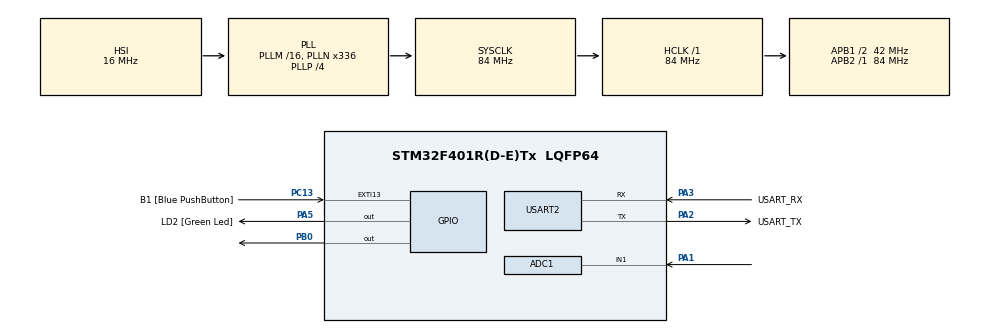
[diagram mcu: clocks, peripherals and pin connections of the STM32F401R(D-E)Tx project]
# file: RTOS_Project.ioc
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ADC1.Channel-0\#ChannelRegularConversion=ADC_CHANNEL_1
ADC1.NbrOfConversionFlag=1
ADC1.Rank-0\#ChannelRegularConversion=1
ADC1.SamplingTime-0\#ChannelRegularConversion=ADC_SAMPLETIME_3CYCLES
ADC1.master=1
FREERTOS.Tasks01=defaultTask,24,128,StartDefaultTask,Default,NULL,Dynamic,NULL,NULL
FREERTOS.configUSE_NEWLIB_REENTRANT=1
IWDG.Prescaler=IWDG_PRESCALER_16
Mcu.Family=STM32F4
Mcu.Name=STM32F401R(D-E)Tx
Mcu.Package=LQFP64
NVIC.PriorityGroup=NVIC_PRIORITYGROUP_4
NVIC.TIM1_UP_TIM10_IRQn=true\:15\:0\:false\:false\:true\:false\:false\:true\:true
NVIC.TIM2_IRQn=true\:5\:0\:false\:false\:true\:true\:true\:true\:true
NVIC.TimeBase=TIM1_UP_TIM10_IRQn
NVIC.TimeBaseIP=TIM1
PA1.Signal=ADCx_IN1
PA13.GPIO_Label=TMS
PA13.Mode=Trace_Asynchronous_SW
PA13.Signal=SYS_JTMS-SWDIO
PA14.GPIO_Label=TCK
PA14.Mode=Trace_Asynchronous_SW
PA14.Signal=SYS_JTCK-SWCLK
PA2.GPIO_Label=USART_TX
PA2.GPIO_Mode=GPIO_MODE_AF_PP
PA2.GPIO_PuPd=GPIO_NOPULL
PA2.GPIO_Speed=GPIO_SPEED_FREQ_LOW
PA2.Mode=Asynchronous
PA2.Signal=USART2_TX
PA3.GPIO_Label=USART_RX
PA3.GPIO_Mode=GPIO_MODE_AF_PP
PA3.GPIO_PuPd=GPIO_NOPULL
PA3.GPIO_Speed=GPIO_SPEED_FREQ_LOW
PA3.Mode=Asynchronous
PA3.Signal=USART2_RX
PA5.GPIO_Label=LD2 [Green Led]
PA5.GPIO_Mode=GPIO_MODE_OUTPUT_PP
PA5.GPIO_PuPd=GPIO_NOPULL
PA5.GPIO_Speed=GPIO_SPEED_FREQ_LOW
PA5.Signal=GPIO_Output
PB0.Signal=GPIO_Output
PB3.GPIO_Label=SWO
PB3.Mode=Trace_Asynchronous_SW
PB3.Signal=SYS_JTDO-SWO
PC13-ANTI_TAMP.GPIO_Label=B1 [Blue PushButton]
PC13-ANTI_TAMP.GPIO_ModeDefaultEXTI=GPIO_MODE_IT_FALLING
PC13-ANTI_TAMP.GPIO_PuPd=GPIO_NOPULL
PC13-ANTI_TAMP.Signal=GPXTI13
PC14-OSC32_IN.Mode=LSE-External-Oscillator
PC14-OSC32_IN.Signal=RCC_OSC32_IN
PC15-OSC32_OUT.Mode=LSE-External-Oscillator
PC15-OSC32_OUT.Signal=RCC_OSC32_OUT
PH0\ -\ OSC_IN.Mode=HSE-External-Clock-Source
PH0\ -\ OSC_IN.Signal=RCC_OSC_IN
PH1\ -\ OSC_OUT.Mode=HSE-External-Clock-Source
PH1\ -\ OSC_OUT.Signal=RCC_OSC_OUT
ProjectManager.HeapSize=0x200
ProjectManager.StackSize=0x400
ProjectManager.TargetToolchain=STM32CubeIDE
RCC.48MHZClocksFreq_Value=48000000
RCC.AHBFreq_Value=84000000
RCC.APB1CLKDivider=RCC_HCLK_DIV2
RCC.APB1Freq_Value=42000000
RCC.APB1TimFreq_Value=84000000
RCC.APB2Freq_Value=84000000
RCC.APB2TimFreq_Value=84000000
RCC.CortexFreq_Value=84000000
RCC.HCLKFreq_Value=84000000
RCC.HSE_VALUE=8000000
RCC.HSI_VALUE=16000000
RCC.PLLN=336
RCC.PLLP=RCC_PLLP_DIV4
RCC.PLLQ=7
RCC.SYSCLKFreq_VALUE=84000000
RCC.SYSCLKSource=RCC_SYSCLKSOURCE_PLLCLK
RCC.VCOOutputFreq_Value=336000000
SH.ADCx_IN1.0=ADC1_IN1,IN1
TIM2.Prescaler=83
USART2.VirtualMode=VM_ASYNC
VP_FREERTOS_VS_CMSIS_V2.Mode=CMSIS_V2
VP_IWDG_VS_IWDG.Mode=IWDG_Activate
VP_SYS_VS_tim1.Mode=TIM1
VP_TIM2_VS_ClockSourceINT.Mode=Internal
board=NUCLEO-F401RE

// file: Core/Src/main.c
/* USER CODE BEGIN Header */
/**
  ******************************************************************************
  * @file           : main.c
  * @brief          : Main program body
  ******************************************************************************
  */
/* USER CODE END Header */

#include "main.h"
#include "cmsis_os.h"

/* USER CODE BEGIN Includes */
#include "ring_buffer.h"
/* USER CODE END Includes */

ADC_HandleTypeDef hadc1;
IWDG_HandleTypeDef hiwdg;
TIM_HandleTypeDef htim2;
UART_HandleTypeDef huart2;

osThreadId_t defaultTaskHandle;
const osThreadAttr_t defaultTask_attributes = {
  .name = "defaultTask",
  .stack_size = 128 * 4,
  .priority = (osPriority_t) osPriorityNormal,
};

/* USER CODE BEGIN PV */
RingBuffer_t adcRingBuffer;
/* USER CODE END PV */

static void MX_GPIO_Init(void);
static void MX_ADC1_Init(void);
static void MX_IWDG_Init(void);
static void MX_TIM2_Init(void);
static void MX_USART2_UART_Init(void);
void SystemClock_Config(void);
void StartDefaultTask(void *argument);

/* USER CODE BEGIN PFP */
void MX_FREERTOS_Init(void);
/* USER CODE END PFP */

int main(void)
{
  HAL_Init();
  SystemClock_Config();

  MX_GPIO_Init();
  MX_ADC1_Init();
  MX_IWDG_Init();
  MX_TIM2_Init();
  MX_USART2_UART_Init();

  /* USER CODE BEGIN 2 */
  RingBuffer_Init(&adcRingBuffer);
  HAL_ADC_Start(&hadc1);
  HAL_TIM_Base_Start_IT(&htim2);
  /* USER CODE END 2 */

  osKernelInitialize();

  // defaultTaskHandle = osThreadNew(StartDefaultTask, NULL, &defaultTask_attributes);

  /* USER CODE BEGIN RTOS_THREADS */
  MX_FREERTOS_Init();
  /* USER CODE END RTOS_THREADS */

  osKernelStart();

  while (1) {}
}

void SystemClock_Config(void)
{
  RCC_OscInitTypeDef RCC_OscInitStruct = {0};
  RCC_ClkInitTypeDef RCC_ClkInitStruct = {0};

  __HAL_RCC_PWR_CLK_ENABLE();
  __HAL_PWR_VOLTAGESCALING_CONFIG(PWR_REGULATOR_VOLTAGE_SCALE2);

  RCC_OscInitStruct.OscillatorType = RCC_OSCILLATORTYPE_HSI|RCC_OSCILLATORTYPE_LSI;
  RCC_OscInitStruct.HSIState = RCC_HSI_ON;
  RCC_OscInitStruct.HSICalibrationValue = RCC_HSICALIBRATION_DEFAULT;
  RCC_OscInitStruct.LSIState = RCC_LSI_ON;
  RCC_OscInitStruct.PLL.PLLState = RCC_PLL_ON;
  RCC_OscInitStruct.PLL.PLLSource = RCC_PLLSOURCE_HSI;
  RCC_OscInitStruct.PLL.PLLM = 16;
  RCC_OscInitStruct.PLL.PLLN = 336;
  RCC_OscInitStruct.PLL.PLLP = RCC_PLLP_DIV4;
  RCC_OscInitStruct.PLL.PLLQ = 7;
  if (HAL_RCC_OscConfig(&RCC_OscInitStruct) != HAL_OK) Error_Handler();

  RCC_ClkInitStruct.ClockType = RCC_CLOCKTYPE_HCLK|RCC_CLOCKTYPE_SYSCLK
                              |RCC_CLOCKTYPE_PCLK1|RCC_CLOCKTYPE_PCLK2;
  RCC_ClkInitStruct.SYSCLKSource = RCC_SYSCLKSOURCE_PLLCLK;
  RCC_ClkInitStruct.AHBCLKDivider = RCC_SYSCLK_DIV1;
  RCC_ClkInitStruct.APB1CLKDivider = RCC_HCLK_DIV2;
  RCC_ClkInitStruct.APB2CLKDivider = RCC_HCLK_DIV1;
  if (HAL_RCC_ClockConfig(&RCC_ClkInitStruct, FLASH_LATENCY_2) != HAL_OK) Error_Handler();
}

static void MX_ADC1_Init(void)
{
  ADC_ChannelConfTypeDef sConfig = {0};

  hadc1.Instance = ADC1;
  hadc1.Init.ClockPrescaler = ADC_CLOCK_SYNC_PCLK_DIV4;
  hadc1.Init.Resolution = ADC_RESOLUTION_12B;
  hadc1.Init.ScanConvMode = DISABLE;
  hadc1.Init.ContinuousConvMode = DISABLE;
  hadc1.Init.DiscontinuousConvMode = DISABLE;
  hadc1.Init.ExternalTrigConvEdge = ADC_EXTERNALTRIGCONVEDGE_NONE;
  hadc1.Init.ExternalTrigConv = ADC_SOFTWARE_START;
  hadc1.Init.DataAlign = ADC_DATAALIGN_RIGHT;
  hadc1.Init.NbrOfConversion = 1;
  hadc1.Init.DMAContinuousRequests = DISABLE;
  hadc1.Init.EOCSelection = ADC_EOC_SINGLE_CONV;
  if (HAL_ADC_Init(&hadc1) != HAL_OK) Error_Handler();

  sConfig.Channel = ADC_CHANNEL_1;
  sConfig.Rank = 1;
  sConfig.SamplingTime = ADC_SAMPLETIME_3CYCLES;
  if (HAL_ADC_ConfigChannel(&hadc1, &sConfig) != HAL_OK) Error_Handler();
}

static void MX_IWDG_Init(void)
{
  hiwdg.Instance = IWDG;
  hiwdg.Init.Prescaler = IWDG_PRESCALER_16;
  hiwdg.Init.Reload = 4095;
  if (HAL_IWDG_Init(&hiwdg) != HAL_OK) Error_Handler();
}

static void MX_TIM2_Init(void)
{
  TIM_ClockConfigTypeDef sClockSourceConfig = {0};
  TIM_MasterConfigTypeDef sMasterConfig = {0};

  htim2.Instance = TIM2;
  htim2.Init.Prescaler = 83;
  htim2.Init.CounterMode = TIM_COUNTERMODE_UP;
  htim2.Init.Period = 999;
  htim2.Init.ClockDivision = TIM_CLOCKDIVISION_DIV1;
  htim2.Init.AutoReloadPreload = TIM_AUTORELOAD_PRELOAD_DISABLE;
  if (HAL_TIM_Base_Init(&htim2) != HAL_OK) Error_Handler();

  sClockSourceConfig.ClockSource = TIM_CLOCKSOURCE_INTERNAL;
  if (HAL_TIM_ConfigClockSource(&htim2, &sClockSourceConfig) != HAL_OK) Error_Handler();

  sMasterConfig.MasterOutputTrigger = TIM_TRGO_RESET;
  sMasterConfig.MasterSlaveMode = TIM_MASTERSLAVEMODE_DISABLE;
  if (HAL_TIMEx_MasterConfigSynchronization(&htim2, &sMasterConfig) != HAL_OK) Error_Handler();
}

static void MX_USART2_UART_Init(void)
{
  huart2.Instance = USART2;
  huart2.Init.BaudRate = 115200;
  huart2.Init.WordLength = UART_WORDLENGTH_8B;
  huart2.Init.StopBits = UART_STOPBITS_1;
  huart2.Init.Parity = UART_PARITY_NONE;
  huart2.Init.Mode = UART_MODE_TX_RX;
  huart2.Init.HwFlowCtl = UART_HWCONTROL_NONE;
  huart2.Init.OverSampling = UART_OVERSAMPLING_16;
  if (HAL_UART_Init(&huart2) != HAL_OK) Error_Handler();
}

static void MX_GPIO_Init(void)
{
  GPIO_InitTypeDef GPIO_InitStruct = {0};

  __HAL_RCC_GPIOC_CLK_ENABLE();
  __HAL_RCC_GPIOH_CLK_ENABLE();
  __HAL_RCC_GPIOA_CLK_ENABLE();
  __HAL_RCC_GPIOB_CLK_ENABLE();

  HAL_GPIO_WritePin(LD2_GPIO_Port, LD2_Pin, GPIO_PIN_RESET);

  GPIO_InitStruct.Pin = B1_Pin;
  GPIO_InitStruct.Mode = GPIO_MODE_IT_FALLING;
  GPIO_InitStruct.Pull = GPIO_NOPULL;
  HAL_GPIO_Init(B1_GPIO_Port, &GPIO_InitStruct);

  GPIO_InitStruct.Pin = LD2_Pin;
  GPIO_InitStruct.Mode = GPIO_MODE_OUTPUT_PP;
  GPIO_InitStruct.Pull = GPIO_NOPULL;
  GPIO_InitStruct.Speed = GPIO_SPEED_FREQ_LOW;
  HAL_GPIO_Init(LD2_GPIO_Port, &GPIO_InitStruct);

  /* USER CODE BEGIN MX_GPIO_Init_2 */
  HAL_GPIO_WritePin(GPIOB, GPIO_PIN_0, GPIO_PIN_SET);    // relay off at startup
  GPIO_InitStruct.Pin = GPIO_PIN_0;
  GPIO_InitStruct.Mode = GPIO_MODE_OUTPUT_PP;
  GPIO_InitStruct.Pull = GPIO_NOPULL;
  GPIO_InitStruct.Speed = GPIO_SPEED_FREQ_LOW;
  HAL_GPIO_Init(GPIOB, &GPIO_InitStruct);
  /* USER CODE END MX_GPIO_Init_2 */
}

void HAL_TIM_PeriodElapsedCallback(TIM_HandleTypeDef *htim)
{
  if (htim->Instance == TIM1) HAL_IncTick();
}

void Error_Handler(void)
{
  __disable_irq();
  while (1) {}
}

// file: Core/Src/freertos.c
/* USER CODE BEGIN Header */
/**
  ******************************************************************************
  * File Name          : freertos.c
  ******************************************************************************
  */
/* USER CODE END Header */

#include "FreeRTOS.h"
#include "task.h"
#include "main.h"
#include "cmsis_os.h"

/* USER CODE BEGIN Includes */
#include "ring_buffer.h"
#include "task.h"
#include <stdio.h>
#include <string.h>
/* USER CODE END Includes */

/* USER CODE BEGIN Variables */
extern RingBuffer_t adcRingBuffer;
extern UART_HandleTypeDef huart2;
extern IWDG_HandleTypeDef hiwdg;

osMessageQueueId_t adcQueueHandle;

#define ADC_THRESHOLD  2048
volatile uint32_t overflowCount = 0;
volatile uint16_t lastADCAverage = 0;
/* USER CODE END Variables */

void StartDefaultTask(void *argument);
void StartControlTask(void *argument);
void StartLoggingTask(void *argument);

void MX_FREERTOS_Init(void)
{
  adcQueueHandle = osMessageQueueNew(16, sizeof(uint16_t), NULL);

  const osThreadAttr_t defaultTask_attr = {
    .name = "DataTask",
    .stack_size = 256 * 4,
    .priority = (osPriority_t) osPriorityNormal,
  };
  osThreadNew(StartDefaultTask, NULL, &defaultTask_attr);

  const osThreadAttr_t controlTask_attr = {
    .name = "ControlTask",
    .stack_size = 256 * 4,
    .priority = (osPriority_t) osPriorityHigh,
  };
  osThreadNew(StartControlTask, NULL, &controlTask_attr);

  const osThreadAttr_t loggingTask_attr = {
    .name = "LoggingTask",
    .stack_size = 256 * 4,
    .priority = (osPriority_t) osPriorityLow,
  };
  osThreadNew(StartLoggingTask, NULL, &loggingTask_attr);
}

void StartDefaultTask(void *argument)
{
  uint16_t sample = 0;
  uint32_t sum = 0;
  uint32_t count = 0;
  uint16_t average = 0;
  uint16_t lastAverage = 0;
  uint8_t stuckCount = 0;

  for(;;)
  {
    while (RingBuffer_Read(&adcRingBuffer, &sample))
    {
      sum += sample;
      count++;
      if (count >= 16)
      {
        average = (uint16_t)(sum / count);
        lastADCAverage = average;
        sum = 0;
        count = 0;

        if (average == lastAverage)
        {
          stuckCount++;
          if (stuckCount >= 10)
          {
            HAL_GPIO_WritePin(LD2_GPIO_Port, LD2_Pin, GPIO_PIN_RESET);
            HAL_GPIO_WritePin(GPIOB, GPIO_PIN_0, GPIO_PIN_RESET);
            overflowCount = 0xDEAD;
            stuckCount = 0;
          }
        }
        else
        {
          stuckCount = 0;
        }
        lastAverage = average;

        if (osMessageQueuePut(adcQueueHandle, &average, 0, 0) != osOK)
          overflowCount++;
      }
    }
    osDelay(1);
  }
}

void StartControlTask(void *argument)
{
  uint16_t average = 0;

  for(;;)
  {
    if (osMessageQueueGet(adcQueueHandle, &average, NULL, 100) == osOK)
    {
      if (average > ADC_THRESHOLD)
      {
        HAL_GPIO_WritePin(LD2_GPIO_Port, LD2_Pin, GPIO_PIN_SET);
        HAL_GPIO_WritePin(GPIOB, GPIO_PIN_0, GPIO_PIN_RESET);  // relay OFF
      }
      else
      {
        HAL_GPIO_WritePin(LD2_GPIO_Port, LD2_Pin, GPIO_PIN_RESET);
        HAL_GPIO_WritePin(GPIOB, GPIO_PIN_0, GPIO_PIN_SET);    // relay ON
      }
    }
    HAL_IWDG_Refresh(&hiwdg);
  }
}

void StartLoggingTask(void *argument)
{
  char msg[64];

  for(;;)
  {
    UBaseType_t stackA = uxTaskGetStackHighWaterMark(NULL);

    sprintf(msg, "ADC:%u OVFL:%lu STK:%u\r\n",
            lastADCAverage,
            overflowCount,
            (unsigned int)stackA);

    HAL_UART_Transmit(&huart2, (uint8_t*)msg, strlen(msg), 100);
    osDelay(500);
  }
}
